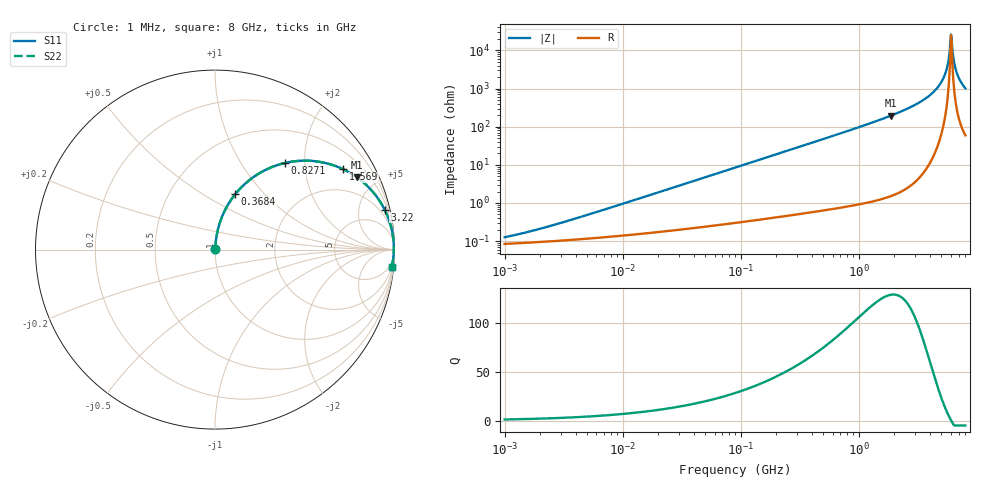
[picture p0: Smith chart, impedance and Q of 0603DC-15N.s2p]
# MHz  S  MA  R  50
!Freq  MagS11  AngS11  MagS21  AngS21  MagS12  AngS12  MagS22  AngS22
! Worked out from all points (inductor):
!   801 points, 1 MHz to 8 GHz, reference 50 ohm
!   read as one part in series: L = 15 nH near 3.364 MHz
!   highest Q = 129 at 1.878 GHz (marker M1), where L = 16.6 nH
!   self-resonance near 6.041 GHz
!   S11 on the Smith chart (normalised r, x): 1 MHz: 1.00, +0.00; 368.4 MHz: 1.01, +0.70; 827.1 MHz: 1.02, +1.59; 1.569 GHz: 1.03, +3.17; 3.22 GHz: 1.09, +8.46; 8 GHz: 2, -20
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1  0.001264 48.1  0.9992 -0.1  0.9992 -0.1  0.001264 48.1
4.505755  0.004389 74.9  0.9989 -0.2  0.9989 -0.2  0.004389 74.9
20.07503  0.01896 83.7  0.9981 -1.1  0.9981 -1.1  0.01896 83.7
90.45318  0.08476 83.1  0.9934 -4.9  0.9934 -4.9  0.08476 83.1
368.3678  0.3275 70.0  0.9397 -19.1  0.9397 -19.1  0.3275 70.0
403.007  0.3547 68.4  0.9297 -20.8  0.9297 -20.8  0.3547 68.4
827.1033  0.6189 51.2  0.7791 -38.2  0.7791 -38.2  0.6189 51.2
1569.116  0.8427 32.1  0.5316 -57.4  0.5316 -57.4  0.8427 32.1
1795.566  0.8774 28.2  0.4729 -61.3  0.4729 -61.3  0.8774 28.2
1878.091  0.8878 27.0  0.4534 -62.6  0.4534 -62.6  0.8878 27.0
3220.343  0.9709 13.3  0.2295 -76.1  0.2295 -76.1  0.9709 13.3
4169.807  0.9887 7.6  0.1325 -81.3  0.1325 -81.3  0.9887 7.6
4990.887  0.9948 3.9  0.06808 -83.7  0.06808 -83.7  0.9948 3.9
5460.201  0.9962 2.1  0.03654 -82.9  0.03654 -82.9  0.9962 2.1
5647.357  0.9964 1.4  0.02483 -80.9  0.02483 -80.9  0.9964 1.4
5840.928  0.9964 0.7  0.0133 -74.1  0.0133 -74.1  0.9964 0.7
6041.133  0.9964 0.1  0.003799 -16.4  0.003799 -16.4  0.9964 0.1
6248.201  0.9961 -0.6  0.01134 69.7  0.01134 69.7  0.9961 -0.6
6535.374  0.9956 -1.5  0.02667 79.7  0.02667 79.7  0.9956 -1.5
6835.746  0.9947 -2.4  0.04228 81.6  0.04228 81.6  0.9947 -2.4
7394.996  0.9926 -4.0  0.06982 81.9  0.06982 81.9  0.9926 -4.0
8000  0.9896 -5.6  0.09761 81.1  0.09761 81.1  0.9896 -5.6
